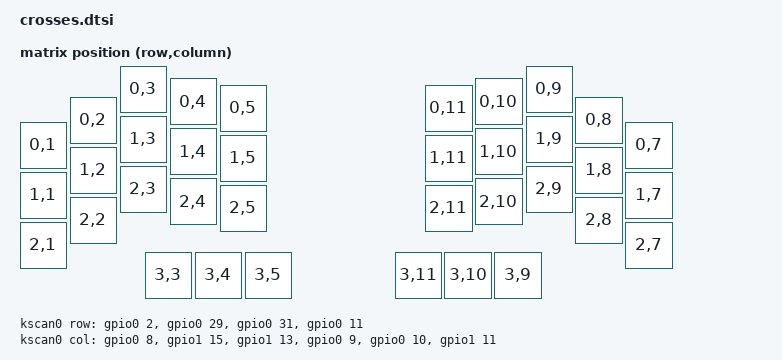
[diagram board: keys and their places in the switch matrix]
/*
 * MiaoMiao PCB variant of the Crosses (AliExpress), 3x5+3 build.
 * Wiring from maatthc/zmk-crosses (42-key variant of the same PCB family).
 *
 * Matrix mapping confirmed by diagnostic firmware 2026-08-10: the 3x5 PCB
 * uses columns 1-5 (left) / 7-11 (right) of the 4x12 scan matrix - the
 * outer column (0/6) of the 42-key design is unpopulated. Right half reads
 * col 11 -> 7 left-to-right; thumbs are row 3, cols 3/4/5 and 11/10/9.
 */
#include <dt-bindings/zmk/matrix_transform.h>
#include <physical_layouts.dtsi>

/ {
    chosen {
        zmk,kscan = &kscan0;
        zmk,physical-layout = &crosses_36_layout;
    };

    default_transform: keymap_transform_0 {
        compatible = "zmk,matrix-transform";
        columns = <12>;
        rows = <4>;

        map = <
            RC(0,1) RC(0,2) RC(0,3) RC(0,4) RC(0,5)   RC(0,11) RC(0,10) RC(0,9) RC(0,8) RC(0,7)
            RC(1,1) RC(1,2) RC(1,3) RC(1,4) RC(1,5)   RC(1,11) RC(1,10) RC(1,9) RC(1,8) RC(1,7)
            RC(2,1) RC(2,2) RC(2,3) RC(2,4) RC(2,5)   RC(2,11) RC(2,10) RC(2,9) RC(2,8) RC(2,7)
                            RC(3,3) RC(3,4) RC(3,5)   RC(3,11) RC(3,10) RC(3,9)
        >;
    };

    crosses_36_layout: crosses_36_layout {
        compatible = "zmk,physical-layout";
        display-name = "Crosses 36";
        transform = <&default_transform>;
        kscan = <&kscan0>;

        keys  //                     w   h    x    y     rot    rx    ry
            = <&key_physical_attrs 100 100    0  112       0     0     0>
            , <&key_physical_attrs 100 100  100   62       0     0     0>
            , <&key_physical_attrs 100 100  200    0       0     0     0>
            , <&key_physical_attrs 100 100  300   25       0     0     0>
            , <&key_physical_attrs 100 100  400   38       0     0     0>
            , <&key_physical_attrs 100 100  812   38       0     0     0>
            , <&key_physical_attrs 100 100  912   25       0     0     0>
            , <&key_physical_attrs 100 100 1012    0       0     0     0>
            , <&key_physical_attrs 100 100 1112   62       0     0     0>
            , <&key_physical_attrs 100 100 1212  112       0     0     0>
            , <&key_physical_attrs 100 100    0  212       0     0     0>
            , <&key_physical_attrs 100 100  100  162       0     0     0>
            , <&key_physical_attrs 100 100  200  100       0     0     0>
            , <&key_physical_attrs 100 100  300  125       0     0     0>
            , <&key_physical_attrs 100 100  400  138       0     0     0>
            , <&key_physical_attrs 100 100  812  138       0     0     0>
            , <&key_physical_attrs 100 100  912  125       0     0     0>
            , <&key_physical_attrs 100 100 1012  100       0     0     0>
            , <&key_physical_attrs 100 100 1112  162       0     0     0>
            , <&key_physical_attrs 100 100 1212  212       0     0     0>
            , <&key_physical_attrs 100 100    0  312       0     0     0>
            , <&key_physical_attrs 100 100  100  262       0     0     0>
            , <&key_physical_attrs 100 100  200  200       0     0     0>
            , <&key_physical_attrs 100 100  300  225       0     0     0>
            , <&key_physical_attrs 100 100  400  238       0     0     0>
            , <&key_physical_attrs 100 100  812  238       0     0     0>
            , <&key_physical_attrs 100 100  912  225       0     0     0>
            , <&key_physical_attrs 100 100 1012  200       0     0     0>
            , <&key_physical_attrs 100 100 1112  262       0     0     0>
            , <&key_physical_attrs 100 100 1212  312       0     0     0>
            , <&key_physical_attrs 100 100  250  372       0     0     0>
            , <&key_physical_attrs 100 100  350  372       0     0     0>
            , <&key_physical_attrs 100 100  450  372       0     0     0>
            , <&key_physical_attrs 100 100  750  372       0     0     0>
            , <&key_physical_attrs 100 100  850  372       0     0     0>
            , <&key_physical_attrs 100 100  950  372       0     0     0>
            ;
    };

    kscan0: kscan {
        compatible = "zmk,kscan-gpio-matrix";
        label = "KSCAN";

        diode-direction = "row2col";
        row-gpios
            = <&gpio0 2 GPIO_ACTIVE_HIGH>
            , <&gpio0 29 GPIO_ACTIVE_HIGH>
            , <&gpio0 31 GPIO_ACTIVE_HIGH>
            , <&gpio0 11 GPIO_ACTIVE_HIGH>
            ;
        col-gpios
            = <&gpio0 8 (GPIO_ACTIVE_HIGH | GPIO_PULL_DOWN)>
            , <&gpio1 15 (GPIO_ACTIVE_HIGH | GPIO_PULL_DOWN)>
            , <&gpio1 13 (GPIO_ACTIVE_HIGH | GPIO_PULL_DOWN)>
            , <&gpio0 9 (GPIO_ACTIVE_HIGH | GPIO_PULL_DOWN)>
            , <&gpio0 10 (GPIO_ACTIVE_HIGH | GPIO_PULL_DOWN)>
            , <&gpio1 11 (GPIO_ACTIVE_HIGH | GPIO_PULL_DOWN)>
            ;
    };
};
